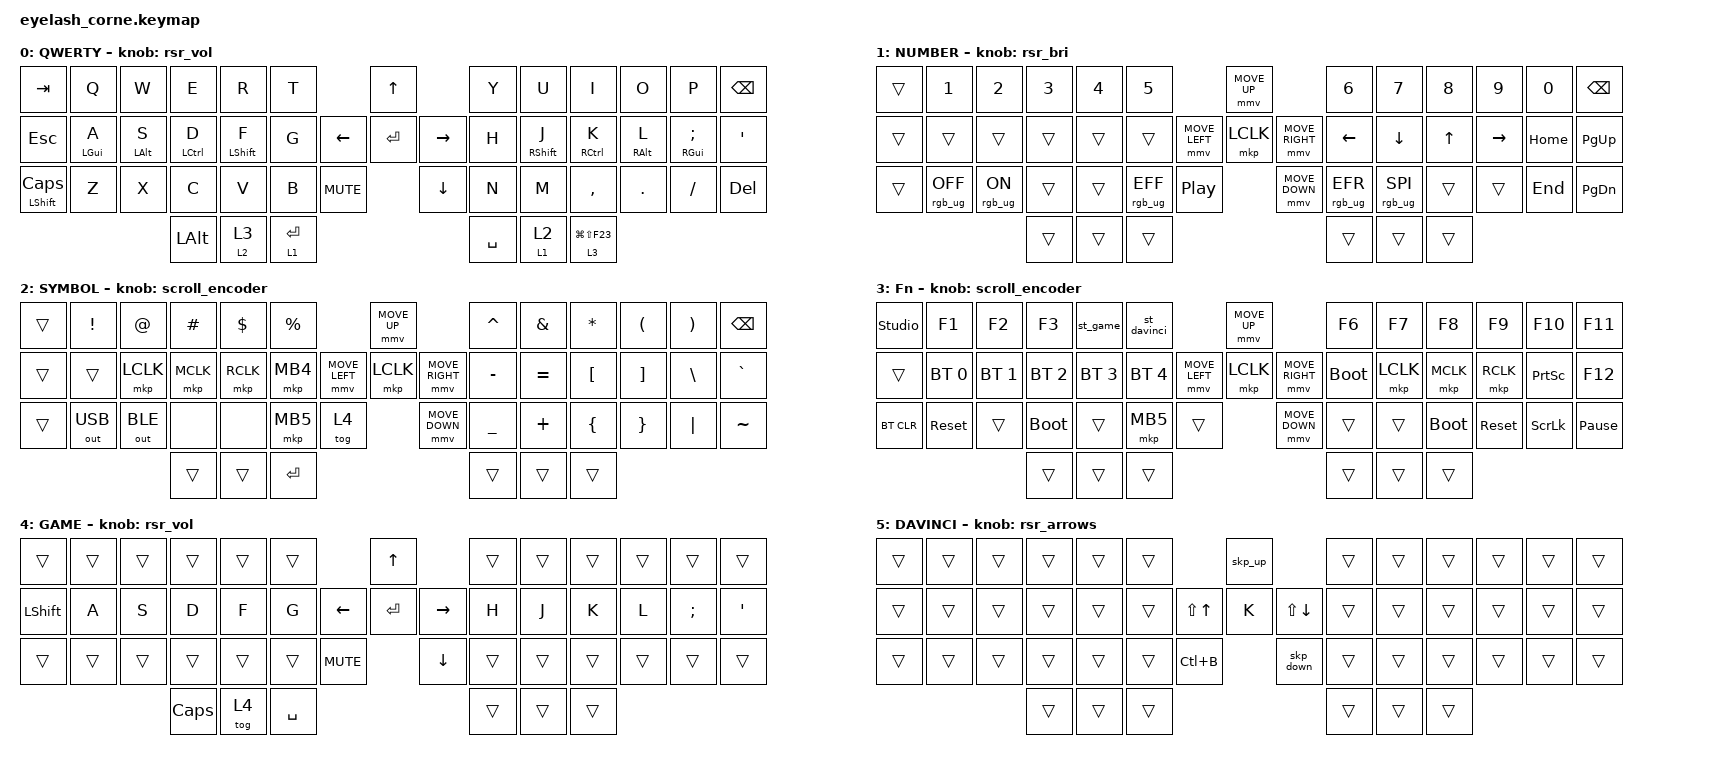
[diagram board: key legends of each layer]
#define ZMK_POINTING_DEFAULT_MOVE_VAL 1200  // 600
#define ZMK_POINTING_DEFAULT_SCRL_VAL 25   // 10

#include <input/processors.dtsi>
#include <zephyr/dt-bindings/input/input-event-codes.h>
#include <behaviors.dtsi>
#include <behaviors/runtime-sensor-rotate.dtsi>
#include <dt-bindings/zmk/bt.h>
#include <dt-bindings/zmk/keys.h>
#include <dt-bindings/zmk/outputs.h>
#include <dt-bindings/zmk/pointing.h>
#include <dt-bindings/zmk/rgb.h>

&mmv_input_listener { input-processors = <&zip_xy_scaler 2 1>; };

&msc_input_listener { input-processors = <&zip_scroll_scaler 2 1>; };

&msc {
    acceleration-exponent = <1>;
    time-to-max-speed-ms = <100>;
    delay-ms = <0>;
};

&mmv {
    time-to-max-speed-ms = <500>;
    acceleration-exponent = <1>;
    trigger-period-ms = <16>;
};

&soft_off { hold-time-ms = <2000>; };

#define SHIFT_TOG(NAME, FKEY, LAYER) \
    NAME: NAME { \
        compatible = "zmk,behavior-mod-morph"; \
        #binding-cells = <0>; \
        bindings = <&kp FKEY>, <&tog LAYER>; \
        mods = <(MOD_LSFT|MOD_RSFT)>; \
    };

#define SHIFT_KEY(NAME, TAP, SHIFT) \
    NAME: NAME { \
        compatible = "zmk,behavior-mod-morph"; \
        #binding-cells = <0>; \
        bindings = <&kp TAP>, <&kp SHIFT>; \
        mods = <(MOD_LSFT|MOD_RSFT)>; \
    };

/ {
    behaviors {
        hml: home_row_mod_left {
            compatible = "zmk,behavior-hold-tap";
            #binding-cells = <2>;
            flavor = "balanced";
            require-prior-idle-ms = <100>;
            tapping-term-ms = <150>;
            quick-tap-ms = <250>;
            bindings = <&kp>, <&kp>;
            hold-trigger-key-positions = <7  8  9  10 11 12
                                          22 23 24 25 26 27
                                          36 37 38 39 40 41>;
            hold-trigger-on-release;
        };
        hmr: home_row_mod_right {
            compatible = "zmk,behavior-hold-tap";
            #binding-cells = <2>;
            flavor = "balanced";
            require-prior-idle-ms = <100>;
            tapping-term-ms = <150>;
            quick-tap-ms = <250>;
            bindings = <&kp>, <&kp>;
            hold-trigger-key-positions = <0  1  2  3  4  5
                                          13 14 15 16 17 18
                                          28 29 30 31 32 33>;
            hold-trigger-on-release;
        };
        ld: layer_dance {
            compatible = "zmk,behavior-hold-tap";
            #binding-cells = <2>;
            tapping-term-ms = <200>;
            bindings = <&mo>, <&sl>;
        };
    };

    behaviors {
        td0: td0 {
            compatible = "zmk,behavior-tap-dance";
            display-name = "Shift/Caps Lock Tap Dance";
            #binding-cells = <0>;
            bindings = <&kp LEFT_SHIFT>, <&kp CAPS>;
        };
    };

    rgb_encoder: rgb_encoder {
        compatible = "zmk,behavior-sensor-rotate";
        #sensor-binding-cells = <0>;
        bindings = <&rgb_ug RGB_BRI>, <&rgb_ug RGB_BRD>;
    };

    scroll_encoder: scroll_encoder {
        compatible = "zmk,behavior-sensor-rotate";
        #sensor-binding-cells = <0>;
        bindings = <&msc SCRL_DOWN>, <&msc SCRL_UP>;
        tap-ms = <100>;
    };

    behaviors {
        rsr_vol: rsr_vol {
            compatible = "zmk,behavior-runtime-sensor-rotate";
            #sensor-binding-cells = <0>;
            tap-ms = <5>;
            cw-binding = <&kp C_VOL_UP>;
            ccw-binding = <&kp C_VOL_DN>;
        };

        rsr_trans: rsr_trans {
            compatible = "zmk,behavior-runtime-sensor-rotate";
            #sensor-binding-cells = <0>;
            tap-ms = <0>;
        };

        rsr_bri: rsr_bri {
            compatible = "zmk,behavior-runtime-sensor-rotate";
            #sensor-binding-cells = <0>;
            tap-ms = <5>;
            cw-binding = <&kp C_BRI_INC>;
            ccw-binding = <&kp C_BRI_DEC>;
        };

        rsr_arrows: rsr_arrows {
            compatible = "zmk,behavior-runtime-sensor-rotate";
            #sensor-binding-cells = <0>;
            tap-ms = <5>;
            cw-binding = <&kp RIGHT>;
            ccw-binding = <&kp LEFT>;
        };
    };

    behaviors {
        SHIFT_TOG(st_game, F4, 4)
        SHIFT_TOG(st_davinci, F5, 5)
    };

    behaviors {
        SHIFT_KEY(skp_up, UP, RBKT)
        SHIFT_KEY(skp_down, DOWN, LBKT)
    };

    combos {
        compatible = "zmk,combos";

        softoff {
            bindings = <&soft_off>;
            key-positions = <1 15 29>;
        };
    };

    keymap {
        compatible = "zmk,keymap";

        default_layer {
            display-name = "QWERTY";
            bindings = <
&kp TAB           &kp Q        &kp W        &kp E            &kp R         &kp T                               &kp UP                &kp Y        &kp U         &kp I         &kp O        &kp P           &kp BSPC
&kp ESC           &hml LGUI A  &hml LALT S  &hml LCTRL D     &hml LSHFT F  &kp G                     &kp LEFT  &kp ENTER  &kp RIGHT  &kp H        &hmr RSHFT J  &hmr RCTRL K  &hmr RALT L  &hmr RGUI SEMI  &kp SQT
&hml LSHFT CAPS   &kp Z        &kp X        &kp C            &kp V         &kp B        &kp C_MUTE             &kp DOWN              &kp N        &kp M         &kp COMMA     &kp DOT      &kp FSLH        &kp DEL
                                            &kp LALT         &ld 2 3       &lt 1 ENTER                                               &kp SPACE    &ld 1 2       &lt 3 LG(LS(F23))
            >;
            sensor-bindings = <&rsr_vol>;
        };

        lower_layer {
            display-name = "NUMBER";
            bindings = <
&trans  &kp N1           &kp N2          &kp N3        &kp N4        &kp N5                                         &mmv MOVE_UP                     &kp N6           &kp N7           &kp N8   &kp N9      &kp N0    &kp BSPC
&trans  &trans           &trans          &trans        &trans        &trans                         &mmv MOVE_LEFT  &mkp LCLK       &mmv MOVE_RIGHT  &kp LEFT         &kp DOWN         &kp UP   &kp RIGHT   &kp HOME  &kp PG_UP
&trans  &rgb_ug RGB_OFF  &rgb_ug RGB_ON  &trans        &trans        &rgb_ug RGB_EFF  &kp C_PP                      &mmv MOVE_DOWN                   &rgb_ug RGB_EFR  &rgb_ug RGB_SPI  &trans   &trans      &kp END   &kp PG_DN
                                          &trans        &trans        &trans                                                                          &trans           &trans           &trans
            >;
            sensor-bindings = <&rsr_bri>;
        };

        raise_layer {
            display-name = "SYMBOL";
            bindings = <
&trans  &kp EXCL      &kp AT        &kp HASH   &kp DLLR   &kp PRCNT                            &mmv MOVE_UP                     &kp CARET  &kp AMPS   &kp ASTRK  &kp LPAR  &kp RPAR  &kp BSPC
&trans  &trans        &mkp LCLK     &mkp MCLK  &mkp RCLK  &mkp MB4             &mmv MOVE_LEFT  &mkp LCLK       &mmv MOVE_RIGHT  &kp MINUS  &kp EQUAL  &kp LBKT   &kp RBKT  &kp BSLH  &kp GRAVE
&trans  &out OUT_USB  &out OUT_BLE  &none      &none      &mkp MB5   &tog 4                    &mmv MOVE_DOWN                   &kp UNDER  &kp PLUS   &kp LBRC   &kp RBRC  &kp PIPE  &kp TILDE
                                     &trans     &trans     &kp RETURN                                                            &trans     &trans     &trans
            >;
            sensor-bindings = <&scroll_encoder>;
        };

        layer_3 {
            display-name = "Fn";
            bindings = <
&studio_unlock  &kp F1         &kp F2         &kp F3         &st_game      &st_davinci                                 &mmv MOVE_UP                     &kp F6       &kp F7     &kp F8       &kp F9      &kp F10          &kp F11
&trans          &bt BT_SEL 0   &bt BT_SEL 1   &bt BT_SEL 2   &bt BT_SEL 3  &bt BT_SEL 4                &mmv MOVE_LEFT  &mkp LCLK       &mmv MOVE_RIGHT  &bootloader  &mkp LCLK  &mkp MCLK    &mkp RCLK   &kp PRINTSCREEN  &kp F12
&bt BT_CLR      &sys_reset     &trans         &bootloader    &trans        &mkp MB5  &trans                            &mmv MOVE_DOWN                   &trans       &trans     &bootloader  &sys_reset  &kp SCROLLLOCK   &kp PAUSE_BREAK
                                               &trans         &trans        &trans                                                                       &trans       &trans     &trans
            >;
            sensor-bindings = <&scroll_encoder>;
        };

        layer_4 {
            display-name = "GAME";
            bindings = <
&trans      &trans  &trans  &trans     &trans   &trans                              &kp UP                &trans   &trans   &trans   &trans   &trans     &trans
&kp LSHFT   &kp A   &kp S   &kp D      &kp F    &kp G                     &kp LEFT  &kp ENTER  &kp RIGHT  &kp H    &kp J    &kp K    &kp L    &kp SEMI   &kp SQT
&trans      &trans  &trans  &trans     &trans   &trans       &kp C_MUTE             &kp DOWN              &trans   &trans   &trans   &trans   &trans     &trans
                             &kp CAPS   &tog 4   &kp SPACE                                                 &trans   &trans   &trans
            >;
            sensor-bindings = <&rsr_vol>;
        };

        layer_5 {
            display-name = "DAVINCI";
            bindings = <
&trans  &trans  &trans  &trans  &trans  &trans                                         &skp_up                   &trans  &trans  &trans  &trans  &trans  &trans
&trans  &trans  &trans  &trans  &trans  &trans                          &kp LS(UP)     &kp K      &kp LS(DOWN)   &trans  &trans  &trans  &trans  &trans  &trans
&trans  &trans  &trans  &trans  &trans  &trans       &kp LC(B)                         &skp_down                 &trans  &trans  &trans  &trans  &trans  &trans
                                 &trans  &trans  &trans                                                           &trans  &trans  &trans
            >;
            sensor-bindings = <&rsr_arrows>;
        };
    };
};
